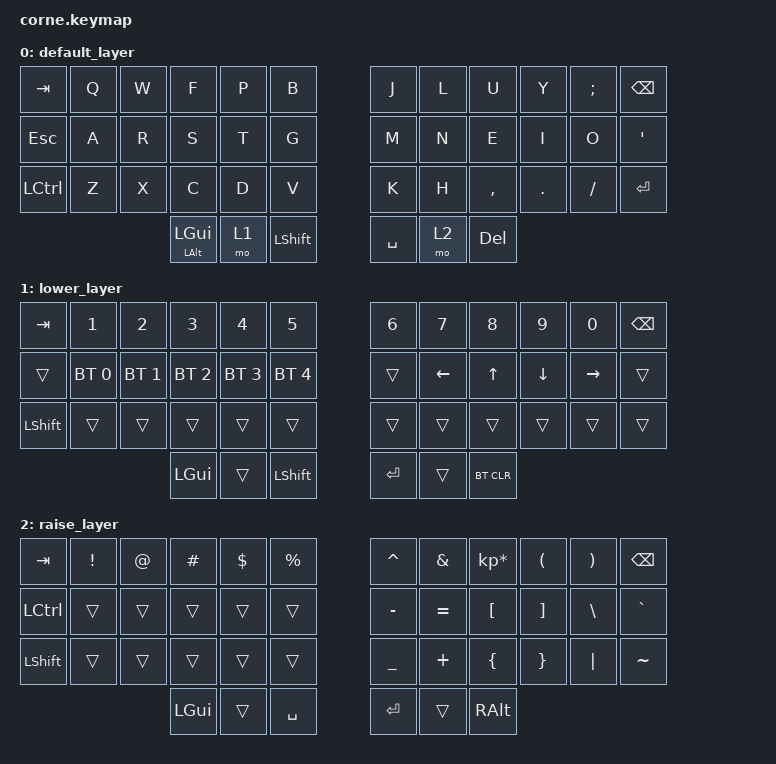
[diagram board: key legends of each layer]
/*
 * Copyright (c) 2020 The ZMK Contributors
 *
 * SPDX-License-Identifier: MIT
 */

#include <behaviors.dtsi>
#include <dt-bindings/zmk/keys.h>
#include <dt-bindings/zmk/bt.h>

/ {
        keymap {
                compatible = "zmk,keymap";

                default_layer {
// -----------------------------------------------------------------------------------------
// |  TAB |  Q  |  W  |  F  |  P  |  B  |   |  J  |  L   |  U  |  Y  |  ;  | BKSP |
// |  ESC |  A  |  R  |  S  |  T  |  G  |   |  M  |  N   |  E  |  I  |  O  |  '   |
// | CTRL |  Z  |  X  |  C  |  D  |  V  |   |  K  |  H   |  ,  |  .  |  /  | ENT  |
//                    | GUI | LWR | SHFT|   | SPC | RSE  | DEL |
                        bindings = <
   &kp TAB   &kp Q &kp W &kp F &kp P &kp B   &kp J &kp L  &kp U     &kp Y   &kp SEMI &kp BSPC
   &kp ESC   &kp A &kp R &kp S &kp T &kp G   &kp M &kp N  &kp E     &kp I   &kp O    &kp SQT
   &kp LCTRL &kp Z &kp X &kp C &kp D &kp V   &kp K &kp H  &kp COMMA &kp DOT &kp FSLH &kp RET
             &mt LALT LGUI &mo 1 &kp LSHFT   &kp SPACE &mo 2 &kp DEL
                        >;
                };
                lower_layer {
// -----------------------------------------------------------------------------------------
// |  TAB |  1  |  2  |  3  |  4  |  5  |   |  6  |  7  |  8  |  9  |  0  | BKSP |
// | BTCLR| BT1 | BT2 | BT3 | BT4 | BT5 |   | LFT | DWN |  UP | RGT |     |      |
// | SHFT |     |     |     |     |     |   |     |     |     |     |     |      |
//                    | GUI |     | SPC |   | ENT |     | ALT |
                        bindings = <
   &kp TAB    &kp N1       &kp N2       &kp N3       &kp N4       &kp N5         &kp N6   &kp N7   &kp N8 &kp N9    &kp N0    &kp BSPC
   &trans &bt BT_SEL 0 &bt BT_SEL 1 &bt BT_SEL 2 &bt BT_SEL 3 &bt BT_SEL 4       &trans   &kp LEFT &kp UP &kp DOWN  &kp RIGHT &trans
   &kp LSHFT  &trans       &trans       &trans       &trans       &trans         &trans   &trans   &trans &trans    &trans &trans
                          	        &kp LGUI     &trans       &kp LSHFT      &kp RET  &trans   &bt BT_CLR
                        >;
                };

                raise_layer {
// -----------------------------------------------------------------------------------------
// |  TAB |  !  |  @  |  #  |  $  |  %  |   |  ^  |  &  |  *  |  (  |  )  | BKSP |
// | CTRL |     |     |     |     |     |   |  -  |  =  |  [  |  ]  |  \  |  `   |
// | SHFT |     |     |     |     |     |   |  _  |  +  |  {  |  }  | "|" |  ~   |
//                    | GUI |     | SPC |   | ENT |     | ALT |
                        bindings = <
   &kp  TAB  &kp EXCL &kp AT &kp HASH &kp DLLR &kp PRCNT   &kp CARET &kp AMPS  &kp KP_MULTIPLY &kp LPAR &kp RPAR &kp BSPC
   &kp LCTRL &trans   &trans &trans   &trans   &trans      &kp MINUS &kp EQUAL &kp LBKT        &kp RBKT &kp BSLH &kp GRAVE
   &kp LSHFT &trans   &trans &trans   &trans   &trans      &kp UNDER &kp PLUS  &kp LBRC        &kp RBRC &kp PIPE &kp TILDE
                    	     &kp LGUI &trans   &kp SPACE   &kp RET   &trans    &kp RALT
                        >;
                };
        };
};
